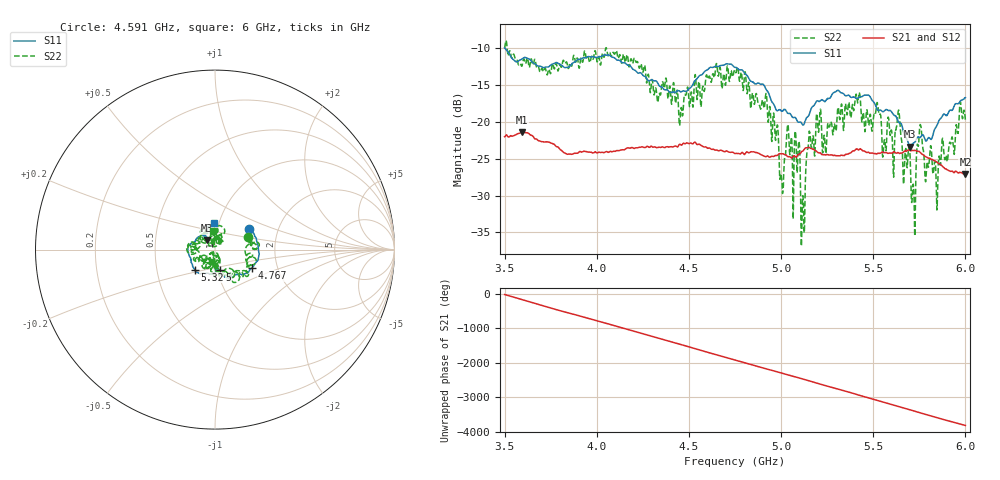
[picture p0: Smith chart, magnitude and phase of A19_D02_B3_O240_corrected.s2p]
! Created with skrf 1.9.0 (http://scikit-rf.org).
# Hz S RI R 50.0
!freq ReS11 ImS11 ReS21 ImS21 ReS12 ImS12 ReS22 ImS22
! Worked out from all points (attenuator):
!   1601 points, 3.5 GHz to 6 GHz, reference 50 ohm
!   highest |S21| = -21.43 dB at 3.592 GHz (marker M1); lowest = -27.1 dB at 6 GHz (marker M2)
!   lowest |S11| = -23.4 dB at 5.7 GHz (marker M3), VSWR 1.15, Z = 45.5 + j4.64 ohm
!   |S11| at or under -10 dB: 3.501 GHz to end of sweep
!   |S22| runs from -36.9 to -9.0 dB; largest |S21 - S12| = 0.00091
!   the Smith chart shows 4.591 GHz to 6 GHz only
!   S11 on the Smith chart (normalised r, x): 4.591 GHz: 1.42, +0.35; 4.767 GHz: 1.48, -0.32; 5 GHz: 1.03, -0.24; 5.32 GHz: 0.78, -0.18; 6 GHz: 0.94, +0.28
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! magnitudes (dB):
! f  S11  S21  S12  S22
! 3.5 GHz  -10.0  -22.0  -22.0  -10.0
! 3.592 GHz  -11.5  -21.4  -21.4  -12.5
! 3.917 GHz  -11.4  -24.1  -24.1  -11.4
! 4.334 GHz  -14.9  -23.5  -23.4  -16.8
! 4.591 GHz  -13.1  -23.4  -23.4  -14.2
! 4.75 GHz  -12.6  -24.3  -24.2  -13.1
! 4.767 GHz  -12.8  -24.3  -24.2  -12.9
! 4.928 GHz  -15.9  -24.6  -24.6  -19.7
! 5 GHz  -18.5  -24.3  -24.3  -27.0
! 5.031 GHz  -18.7  -24.6  -24.5  -21.5
! 5.088 GHz  -19.9  -24.6  -24.6  -26.9
! 5.119 GHz  -20.4  -23.9  -23.9  -30.0
! 5.145 GHz  -19.3  -23.5  -23.5  -23.6
! 5.167 GHz  -18.0  -23.6  -23.6  -23.3
! 5.32 GHz  -16.0  -24.6  -24.6  -19.5
! 5.584 GHz  -18.5  -24.3  -24.2  -19.7
! 5.638 GHz  -20.0  -24.2  -24.2  -18.4
! 5.7 GHz  -23.4  -23.9  -23.9  -24.7
! 5.717 GHz  -22.9  -23.9  -23.8  -28.5
! 5.752 GHz  -22.1  -24.1  -24.0  -20.8
! 5.839 GHz  -20.8  -25.4  -25.3  -26.4
! 6 GHz  -16.7  -27.1  -27.0  -19.8
